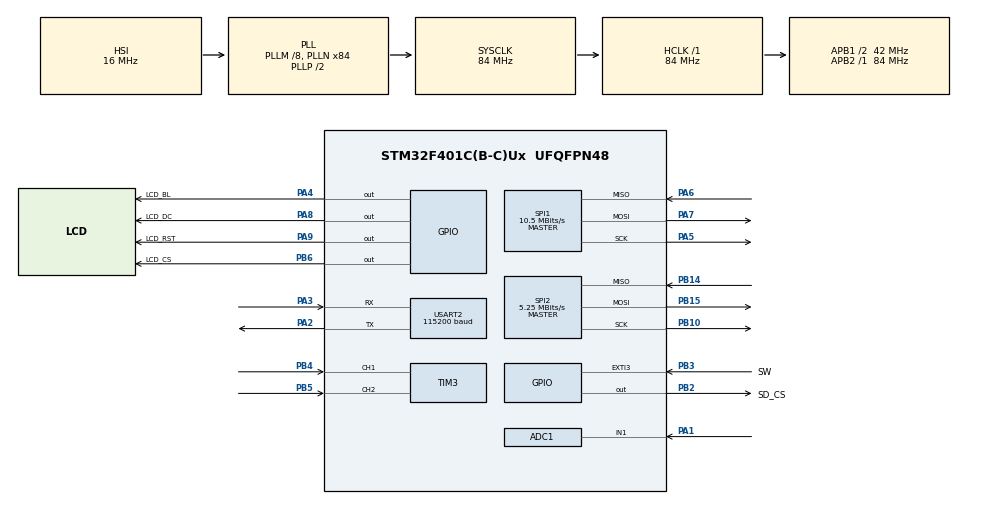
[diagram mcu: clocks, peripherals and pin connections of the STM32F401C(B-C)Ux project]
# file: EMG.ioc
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ADC1.Channel-0\#ChannelRegularConversion=ADC_CHANNEL_1
ADC1.DMAContinuousRequests=ENABLE
ADC1.ExternalTrigConv=ADC_EXTERNALTRIGCONV_T4_CC4
ADC1.NbrOfConversionFlag=1
ADC1.Rank-0\#ChannelRegularConversion=1
ADC1.SamplingTime-0\#ChannelRegularConversion=ADC_SAMPLETIME_144CYCLES
ADC1.master=1
Dma.ADC1.0.Direction=DMA_PERIPH_TO_MEMORY
Dma.ADC1.0.FIFOMode=DMA_FIFOMODE_DISABLE
Dma.ADC1.0.Instance=DMA2_Stream0
Dma.ADC1.0.MemDataAlignment=DMA_MDATAALIGN_HALFWORD
Dma.ADC1.0.MemInc=DMA_MINC_ENABLE
Dma.ADC1.0.Mode=DMA_CIRCULAR
Dma.ADC1.0.PeriphDataAlignment=DMA_PDATAALIGN_HALFWORD
Dma.ADC1.0.PeriphInc=DMA_PINC_DISABLE
Dma.ADC1.0.Priority=DMA_PRIORITY_LOW
Dma.Request0=ADC1
FATFS._MAX_SS=4096
FATFS._USE_LFN=1
Mcu.Family=STM32F4
Mcu.Name=STM32F401C(B-C)Ux
Mcu.Package=UFQFPN48
NVIC.DMA2_Stream0_IRQn=true\:0\:0\:false\:false\:true\:false\:true\:true
NVIC.EXTI3_IRQn=true\:0\:0\:false\:false\:true\:true\:true\:true
NVIC.PriorityGroup=NVIC_PRIORITYGROUP_4
NVIC.TIM3_IRQn=true\:0\:0\:false\:false\:true\:true\:true\:true
PA1.Signal=ADCx_IN1
PA2.Mode=Asynchronous
PA2.Signal=USART2_TX
PA3.Mode=Asynchronous
PA3.Signal=USART2_RX
PA4.GPIO_Label=LCD_BL
PA4.Signal=GPIO_Output
PA5.Mode=Full_Duplex_Master
PA5.Signal=SPI1_SCK
PA6.Mode=Full_Duplex_Master
PA6.Signal=SPI1_MISO
PA7.Mode=Full_Duplex_Master
PA7.Signal=SPI1_MOSI
PA8.GPIO_Label=LCD_DC
PA8.Signal=GPIO_Output
PA9.GPIO_Label=LCD_RST
PA9.Signal=GPIO_Output
PB10.Mode=Full_Duplex_Master
PB10.Signal=SPI2_SCK
PB14.Mode=Full_Duplex_Master
PB14.Signal=SPI2_MISO
PB15.Mode=Full_Duplex_Master
PB15.Signal=SPI2_MOSI
PB2.GPIO_Label=SD_CS
PB2.Signal=GPIO_Output
PB3.GPIO_Label=SW
PB3.GPIO_ModeDefaultEXTI=GPIO_MODE_IT_FALLING
PB3.Signal=GPXTI3
PB4.Signal=S_TIM3_CH1
PB5.Signal=S_TIM3_CH2
PB6.GPIO_Label=LCD_CS
PB6.Signal=GPIO_Output
ProjectManager.HeapSize=0x200
ProjectManager.StackSize=0x400
ProjectManager.TargetToolchain=STM32CubeIDE
RCC.48MHZClocksFreq_Value=42000000
RCC.AHBFreq_Value=84000000
RCC.APB1CLKDivider=RCC_HCLK_DIV2
RCC.APB1Freq_Value=42000000
RCC.APB1TimFreq_Value=84000000
RCC.APB2Freq_Value=84000000
RCC.APB2TimFreq_Value=84000000
RCC.CortexFreq_Value=84000000
RCC.HCLKFreq_Value=84000000
RCC.HSE_VALUE=25000000
RCC.HSI_VALUE=16000000
RCC.LSE_VALUE=32768
RCC.PLLM=8
RCC.PLLN=84
RCC.SYSCLKFreq_VALUE=84000000
RCC.SYSCLKSource=RCC_SYSCLKSOURCE_PLLCLK
RCC.VCOOutputFreq_Value=168000000
SH.ADCx_IN1.0=ADC1_IN1,IN1
SH.S_TIM3_CH1.0=TIM3_CH1,Encoder_Interface
SH.S_TIM3_CH2.0=TIM3_CH2,Encoder_Interface
SPI1.BaudRatePrescaler=SPI_BAUDRATEPRESCALER_8
SPI1.CalculateBaudRate=10.5 MBits/s
SPI1.Direction=SPI_DIRECTION_2LINES
SPI1.Mode=SPI_MODE_MASTER
SPI1.VirtualType=VM_MASTER
SPI2.BaudRatePrescaler=SPI_BAUDRATEPRESCALER_8
SPI2.CalculateBaudRate=5.25 MBits/s
SPI2.Direction=SPI_DIRECTION_2LINES
SPI2.Mode=SPI_MODE_MASTER
SPI2.VirtualType=VM_MASTER
TIM2.Prescaler=83
TIM3.IC1Polarity=TIM_ICPOLARITY_FALLING
TIM3.IC2Polarity=TIM_ICPOLARITY_FALLING
TIM4.Channel-PWM\ Generation4\ No\ Output=TIM_CHANNEL_4
TIM4.Period=320
TIM4.Prescaler=83
TIM4.Pulse-PWM\ Generation4\ No\ Output=1
TIM5.Prescaler=83
USART2.BaudRate=115200
USART2.VirtualMode=VM_ASYNC
VP_FATFS_VS_Generic.Mode=User_defined
VP_TIM2_VS_ClockSourceINT.Mode=Internal
VP_TIM4_VS_no_output4.Mode=PWM Generation4 No Output
VP_TIM5_VS_ClockSourceINT.Mode=Internal
board=custom

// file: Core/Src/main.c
/* USER CODE BEGIN Header */
/**
  ******************************************************************************
  * @file           : main.c
  * @brief          : Main program body
  ******************************************************************************
  * @attention
  *
  * Copyright (c) 2022 STMicroelectronics.
  * All rights reserved.
  *
  * This software is licensed under terms that can be found in the LICENSE file
  * in the root directory of this software component.
  * If no LICENSE file comes with this software, it is provided AS-IS.
  *
  ******************************************************************************
  */
/* USER CODE END Header */
#include "main.h"
#include "adc.h"
#include "dma.h"
#include "fatfs.h"
#include "spi.h"
#include "tim.h"
#include "usart.h"
#include "gpio.h"

/* USER CODE BEGIN Includes */
#include <string.h>
#include <stdio.h>
#include "DEV_Config.h"
#include "LCD.h"
#include "menu.h"
#include "common.h"
#include "SD_card.h"
#include "ff.h"
/* USER CODE END Includes */

/* USER CODE BEGIN PD */
#define DMABUFSIZE 1000
/* USER CODE END PD */

/* USER CODE BEGIN PV */
uint32_t timeSD1,timeSD2;
uint32_t uartTIME1,uartTIME2;

uint8_t BLstatus=0;
uint8_t SDstatus=0;
uint8_t RSTstatus=0;
uint8_t RST=0;
//SC CARD
uint8_t clearSDflag;
extern DMA_HandleTypeDef hdma_adc1;
extern struct SD_Iterface SD;
volatile uint8_t firstconversion=0;
volatile uint8_t secondconversion = 0;
uint8_t	datatransmision =1;
uint16_t dma_buf[DMABUFSIZE];
char tempconv[4];

uint32_t t1,t2;
uint8_t check=0;
volatile uint8_t Bluetooth[125];

volatile uint32_t enc_time=0;
volatile int16_t enc_rot=0;
/* USER CODE END PV */

void SystemClock_Config(void);
/* USER CODE BEGIN PFP */
void farray(DMA_HandleTypeDef *hdma);
void sarray(DMA_HandleTypeDef *hdma);
/* USER CODE END PFP */

/* USER CODE BEGIN 0 */

void conversion(uint16_t range){
	for(int16_t i=range;i<range+500;i++){
		sprintf(tempconv,"%d",dma_buf[i]);
		if(dma_buf[i]>999){
			SD.buffer[4*i]=tempconv[0];
			SD.buffer[4*i+1]=tempconv[1];
			SD.buffer[4*i+2]=tempconv[2];
			SD.buffer[4*i+3]=tempconv[3];
		}
		else if(dma_buf[i]>99){
			SD.buffer[4*i]='0';
			SD.buffer[4*i+1]=tempconv[0];
			SD.buffer[4*i+2]=tempconv[1];
			SD.buffer[4*i+3]=tempconv[2];
		}
		else if(dma_buf[i]>99){
			SD.buffer[4*i]='0';
			SD.buffer[4*i+1]='0';
			SD.buffer[4*i+2]=tempconv[0];
			SD.buffer[4*i+3]=tempconv[1];
		}
		else{
			SD.buffer[4*i]='0';
			SD.buffer[4*i+1]='0';
			SD.buffer[4*i+2]='0';
			SD.buffer[4*i+3]=tempconv[0];
		}
	}
}
void save_data_to_SD(){
	if(datatransmision){
		SD.buffer[4000]='\n';
		RSTstatus=writeDataPacked("emg.txt", FA_OPEN_APPEND | FA_WRITE | FA_READ);
	}
}
void adcbufToBlbuf(){
	for(uint8_t i=0;i<25;i++){
		Bluetooth[5*i]='s';
		Bluetooth[5*i+1]=SD.buffer[160*i];
		Bluetooth[5*i+2]=SD.buffer[160*i+1];
		Bluetooth[5*i+3]=SD.buffer[160*i+2];
		Bluetooth[5*i+4]=SD.buffer[160*i+3];
	}

}

/* USER CODE END 0 */

int main(void)
{

  /* MCU Configuration--------------------------------------------------------*/

  /* Reset of all peripherals, Initializes the Flash interface and the Systick. */
  HAL_Init();

  /* Configure the system clock */
  SystemClock_Config();

  /* Initialize all configured peripherals */
  MX_GPIO_Init();
  MX_DMA_Init();
  MX_SPI1_Init();
  MX_TIM3_Init();
  MX_ADC1_Init();
  MX_SPI2_Init();
  MX_TIM4_Init();
  MX_FATFS_Init();
  MX_TIM2_Init();
  MX_USART2_UART_Init();
  MX_TIM5_Init();
  /* USER CODE BEGIN 2 */
  LCD_SCAN_DIR Lcd_ScanDir = D2U_L2R;//SCAN_DIR_DFT = D2U_L2R
  LCD_Init( Lcd_ScanDir );
  Driver_Delay_ms(1000);
  LCD_Clear(GRAY);
  create_structarray();
  menu_refresh();
  HAL_TIM_Base_Start(&htim2);
  HAL_TIM_Base_Start(&htim5);
  HAL_TIM_Encoder_Start_IT(&htim3, TIM_CHANNEL_ALL);
  HAL_TIM_PWM_Start(&htim4, TIM_CHANNEL_4);
  HAL_ADC_Start_DMA(&hadc1,(uint32_t*)dma_buf, DMABUFSIZE);
  hdma_adc1.XferHalfCpltCallback = farray;
  hdma_adc1.XferCpltCallback = sarray;
  mountSDcard();
  char pData[]="AT";
  HAL_UART_Transmit(&huart2,(uint8_t*) pData, sizeof(pData)-1, 100);
char pDATAr[10];
HAL_UART_Receive(&huart2, (uint8_t*) pDATAr, 10, 100);
  /* USER CODE END 2 */

  /* Infinite loop */
  /* USER CODE BEGIN WHILE */
  while (1)
  {

	  if(clearSDflag){
		  deleteFile("emg.txt");
		  clearSDflag=0;
	  }
	  if(RST){
		  NVIC_SystemReset();
	  }
	  if(firstconversion){
		conversion(0);
		firstconversion=0;

	  }
	  if(secondconversion){
		  t1=TIM2->CNT;
		  conversion(500);
		  if(BLstatus){
		  		  adcbufToBlbuf();
		  		  	HAL_UART_Transmit(&huart2,(uint8_t *)Bluetooth , 125, 100);
		  		  }
		  if(SDstatus){save_data_to_SD();}

		  t2=TIM2->CNT-t1;
		  secondconversion=0;

	  }

    /* USER CODE END WHILE */

  }
}

void SystemClock_Config(void)
{
  RCC_OscInitTypeDef RCC_OscInitStruct = {0};
  RCC_ClkInitTypeDef RCC_ClkInitStruct = {0};

  /** Configure the main internal regulator output voltage
  */
  __HAL_RCC_PWR_CLK_ENABLE();
  __HAL_PWR_VOLTAGESCALING_CONFIG(PWR_REGULATOR_VOLTAGE_SCALE2);

  /** Initializes the RCC Oscillators according to the specified parameters
  * in the RCC_OscInitTypeDef structure.
  */
  RCC_OscInitStruct.OscillatorType = RCC_OSCILLATORTYPE_HSI;
  RCC_OscInitStruct.HSIState = RCC_HSI_ON;
  RCC_OscInitStruct.HSICalibrationValue = RCC_HSICALIBRATION_DEFAULT;
  RCC_OscInitStruct.PLL.PLLState = RCC_PLL_ON;
  RCC_OscInitStruct.PLL.PLLSource = RCC_PLLSOURCE_HSI;
  RCC_OscInitStruct.PLL.PLLM = 8;
  RCC_OscInitStruct.PLL.PLLN = 84;
  RCC_OscInitStruct.PLL.PLLP = RCC_PLLP_DIV2;
  RCC_OscInitStruct.PLL.PLLQ = 4;
  if (HAL_RCC_OscConfig(&RCC_OscInitStruct) != HAL_OK)
  {
    Error_Handler();
  }

  /** Initializes the CPU, AHB and APB buses clocks
  */
  RCC_ClkInitStruct.ClockType = RCC_CLOCKTYPE_HCLK|RCC_CLOCKTYPE_SYSCLK
                              |RCC_CLOCKTYPE_PCLK1|RCC_CLOCKTYPE_PCLK2;
  RCC_ClkInitStruct.SYSCLKSource = RCC_SYSCLKSOURCE_PLLCLK;
  RCC_ClkInitStruct.AHBCLKDivider = RCC_SYSCLK_DIV1;
  RCC_ClkInitStruct.APB1CLKDivider = RCC_HCLK_DIV2;
  RCC_ClkInitStruct.APB2CLKDivider = RCC_HCLK_DIV1;

  if (HAL_RCC_ClockConfig(&RCC_ClkInitStruct, FLASH_LATENCY_2) != HAL_OK)
  {
    Error_Handler();
  }
}

/* USER CODE BEGIN 4 */

void farray(DMA_HandleTypeDef *hdma) {
	firstconversion=1;
}

void sarray(DMA_HandleTypeDef *hdma) {
	secondconversion = 1;
}

void HAL_TIM_IC_CaptureCallback(TIM_HandleTypeDef *htim){
	if(htim->Instance==TIM3){

		if((TIM5->CNT-enc_time)>20){
			enc_time=TIM5->CNT;
			if(enc_rot<(int16_t)__HAL_TIM_GET_COUNTER(htim)){
				key_prev_press();
			}
			else if(enc_rot>(int16_t)__HAL_TIM_GET_COUNTER(htim)){
				key_next_press();
			}
			enc_rot=(int16_t)__HAL_TIM_GET_COUNTER(&htim3);
		}
		if(enc_time>HAL_MAX_DELAY){
			enc_time=0;
		}
	}
}
void HAL_GPIO_EXTI_Callback(uint16_t GPIO_Pin){
	if(GPIO_Pin==SW_Pin){
		static uint32_t prev_time=0;
		if(!HAL_GPIO_ReadPin(SW_GPIO_Port, SW_Pin)&& (HAL_GetTick()-prev_time)>20){
			key_enter_press();
			prev_time=HAL_GetTick();
		}
		if(prev_time>HAL_GetTick()){
			prev_time=0;
		}
	}
}

/* USER CODE END 4 */

void Error_Handler(void)
{
  __disable_irq();
  while (1)
  {
  }
}
